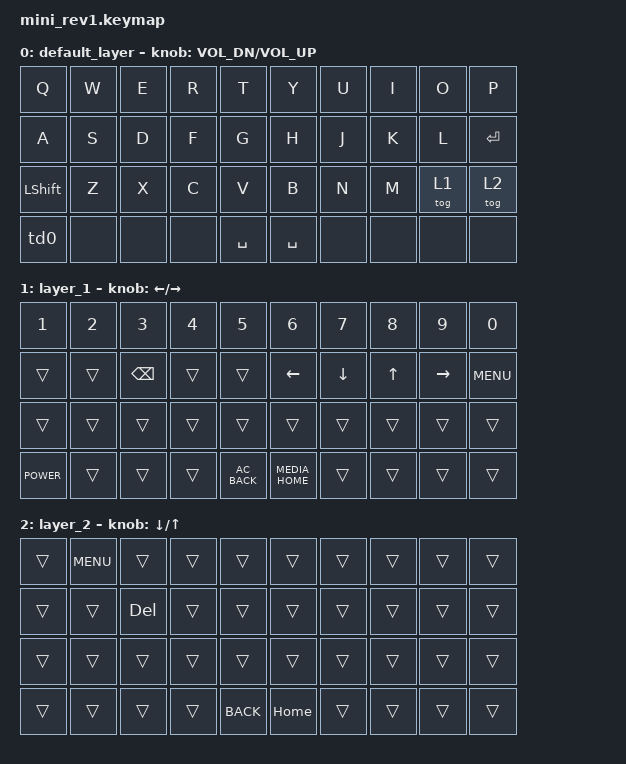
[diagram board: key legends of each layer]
#include <behaviors.dtsi>
#include <dt-bindings/zmk/keys.h>


/ {

    behaviors {
        td0: tap_dance_0 {
            compatible = "zmk,behavior-tap-dance";
            #binding-cells = <0>;
            tapping-term-ms = <200>;
            bindings = <&kp C_PLAY_PAUSE>, <&kp C_NEXT>, <&kp C_POWER>;
        };
    };

    keymap {
        compatible = "zmk,keymap";

        default_layer { // Layer 0
            bindings = <
              &kp Q            &kp W &kp E &kp R &kp T     &kp Y     &kp U &kp I &kp O &kp P
              &kp A            &kp S &kp D &kp F &kp G     &kp H     &kp J &kp K &kp L &kp ENTER
              &kp LSHIFT       &kp Z &kp X &kp C &kp V     &kp B     &kp N &kp M &tog 1 &tog 2
              &td0 &none &none &none &kp SPACE &kp SPACE &none &none &none &none
            >;
            sensor-bindings = <&inc_dec_kp K_VOL_DN K_VOL_UP>;
        };

        layer_1 { // Fn1
            bindings = <
              &kp N1 &kp N2 &kp N3 &kp N4 &kp N5 &kp N6 &kp N7 &kp N8 &kp N9 &kp N0
              &trans &trans &kp BSPC &trans &trans &kp LEFT &kp DOWN &kp UP &kp RIGHT &kp C_MENU
              &trans &trans &trans &trans &trans &trans &trans &trans &trans &trans
              &kp C_POWER &trans &trans &trans &kp C_AC_BACK &kp C_MEDIA_HOME &trans &trans &trans &trans
            >;
            sensor-bindings = <&inc_dec_kp LEFT RIGHT>;

        };

        layer_2 { // Fn2 (empty placeholder)
            bindings = <
              &trans &kp K_MENU &trans &trans &trans &trans &trans &trans &trans &trans
              &trans &trans &kp DEL &trans &trans &trans &trans &trans &trans &trans
              &trans &trans &trans &trans &trans &trans &trans &trans &trans &trans
              &trans &trans &trans &trans &kp K_BACK &kp HOME &trans &trans &trans &trans
            >;
            sensor-bindings = <&inc_dec_kp DOWN UP>;

        };

    };
};
